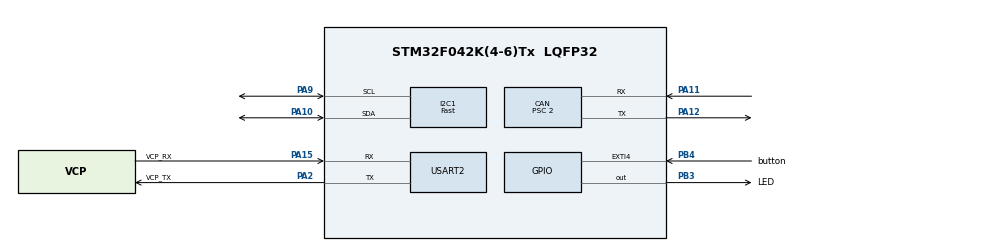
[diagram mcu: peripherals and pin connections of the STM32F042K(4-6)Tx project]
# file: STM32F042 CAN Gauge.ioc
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CAN.BS1=CAN_BS1_3TQ
CAN.BS2=CAN_BS2_4TQ
CAN.CalculateBaudRate=500000
CAN.CalculateTimeBit=2000.00
CAN.CalculateTimeQuantum=250.0
CAN.Prescaler=2
I2C1.I2C_Speed_Mode=I2C_Fast
I2C1.Timing=0x0000020B
Mcu.Family=STM32F0
Mcu.Name=STM32F042K(4-6)Tx
Mcu.Package=LQFP32
NVIC.CEC_CAN_IRQn=true\:0\:0\:false\:false\:true\:true\:true
NVIC.EXTI4_15_IRQn=true\:0\:0\:false\:false\:true\:true\:true
PA10.Mode=I2C
PA10.Signal=I2C1_SDA
PA11.Mode=CAN_Activate
PA11.Signal=CAN_RX
PA12.Mode=CAN_Activate
PA12.Signal=CAN_TX
PA13.GPIO_Label=SWDIO
PA13.Mode=Serial_Wire
PA13.Signal=SYS_SWDIO
PA14.GPIO_Label=SWCLK
PA14.Mode=Serial_Wire
PA14.Signal=SYS_SWCLK
PA15.GPIO_Label=VCP_RX
PA15.Mode=Asynchronous
PA15.Signal=USART2_RX
PA2.GPIO_Label=VCP_TX
PA2.Mode=Asynchronous
PA2.Signal=USART2_TX
PA9.Mode=I2C
PA9.Signal=I2C1_SCL
PB3.GPIO_Label=LED
PB3.Signal=GPIO_Output
PB4.GPIO_Label=button
PB4.GPIO_ModeDefaultEXTI=GPIO_MODE_IT_FALLING
PB4.GPIO_PuPd=GPIO_PULLUP
PB4.Signal=GPXTI4
PF0-OSC_IN.GPIO_Label=MCO
PF0-OSC_IN.Mode=HSE-External-Clock-Source
PF0-OSC_IN.Signal=RCC_OSC_IN
ProjectManager.HeapSize=0x200
ProjectManager.StackSize=0x400
ProjectManager.TargetToolchain=STM32CubeIDE
USART2.VirtualMode-Asynchronous=VM_ASYNC
board=NUCLEO-F042K6

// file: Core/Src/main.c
/* USER CODE BEGIN Header */
/**
  ******************************************************************************
  * @file           : main.c
  * @brief          : Main program body
  ******************************************************************************
  * @attention
  *
  * <h2><center>&copy; Copyright (c) 2021 STMicroelectronics.
  * All rights reserved.</center></h2>
  *
  * This software component is licensed by ST under BSD 3-Clause license,
  * the "License"; You may not use this file except in compliance with the
  * License. You may obtain a copy of the License at:
  *                        opensource.org/licenses/BSD-3-Clause
  *
  ******************************************************************************
  */
/* USER CODE END Header */
#include "main.h"

/* USER CODE BEGIN Includes */
#include "ssd1306.h"
#include <stdbool.h>
#include <stdio.h>
/* USER CODE END Includes */

CAN_HandleTypeDef hcan;

I2C_HandleTypeDef hi2c1;

UART_HandleTypeDef huart2;

/* USER CODE BEGIN PV */

CAN_RxHeaderTypeDef rxHeader; 			//CAN Bus receive header
uint8_t canRX[8] = {0,0,0,0,0,0,0,0};  	//CAN Bus Receive Buffer
CAN_FilterTypeDef canfilter; 			//CAN Bus Filter

// Format for data
// intVal    - 	Integer Value
// decVal    - 	Decimal Value
// scale     -  Inverse of scale, Ex : 0.002 = 200
// decScale  - 	Use to select decimal places, Ex : 10 will remove last digit, 100 -> up to 2 places
// max		 -	Maximum value for graph
// min		 - 	value for graph
// val		 -  Received value
// id		 - 	Corresponds to base + address for filter ID

struct rxData{
	int intVal, decVal, scale, decScale, max, min, val, id;
	int intMax, intMin, decMax, decMin, valMin, valMax;

};

struct minMaxData{
	int  intMax, intMin, decMax, decMin, valMin, valMax;

};

//[int] [dec] [scale] [dec scale] [max] [min] [val] [ID]

struct rxData afr = {0,0,1000,100,22,8,0,4};
struct rxData rpm = {0,0,1,1,7000,50,0,1};
struct rxData clt = {0,0,1,1,60,250,0};
struct rxData iat = {0,0,1,1,60,250,0};
struct rxData accel = {0,0,100,1,0,100,0};
struct rxData tps1 = {0,0,100,1,0,100,0};
struct rxData tps2 = {0,0,100,1,0,100,0};
struct rxData map = {0,0,300,100,0,100,0};
struct rxData timing = {0,0,200,100,0,50,0};
struct rxData injDuty = {0,0,200,1,0,100,0};
struct rxData battery = {0,0,1000,100,0,16,0};

struct minMaxData storedMinMax = {0 , 0, 0, 0, 0, 0};

// User button
int currentMs = 0;
int lastMs = 0;
int btnDebounce = 250;
int btnPress = 0;

int debug = 0;
int fastUpdateRate = 1;

// Gauges, adjust current for starting
int currentGauge = 1;
int totalNumGauge = 4;

//Test data
int b[] = {0,0,0,0,0,0,0};

// CAN IDs for Filters
const int filterID[] = {(512), (513), (514), (515), (516), (517)};
int currentFilter = 0;
int cycleFilter =0;

int rxID;
int msgRXstatus = 0;
char buff[16];

int pMin = 0xFFFF;
int pMax = 0;
int p;
int vMax;
int vMin;
int lastTimeMax;
int lastTimeMin;
int lastTimeMaxP;
int lastTimeMinP;
int timerMinMax = 3500;

int lastCanMessage = 0;
int canWaitTime = 2000;

/* USER CODE END PV */

void SystemClock_Config(void);
static void MX_GPIO_Init(void);
static void MX_USART2_UART_Init(void);
static void MX_I2C1_Init(void);
static void MX_CAN_Init(void);

/* USER CODE BEGIN 0 */

void HAL_CAN_RxFifo0MsgPendingCallback(CAN_HandleTypeDef *hcan1){
	// Receive CAN message interrupt
	HAL_CAN_GetRxMessage(hcan1, CAN_RX_FIFO0, &rxHeader, canRX);
	HAL_GPIO_TogglePin(GPIOB, GPIO_PIN_3);
	msgRXstatus = 1;
	rxID = rxHeader.StdId;
}

void EXTI4_15_IRQHandler(){
	// Push button interrupt
	currentMs = HAL_GetTick();
	 if ((currentMs - lastMs > btnDebounce))
	  {
	    lastMs = currentMs;
	    btnPress=1;
	  }
	 HAL_GPIO_EXTI_IRQHandler(GPIO_PIN_4);
}

void canFilterInit(int hiID, int loID){
  	canfilter.FilterBank = 0;
  	canfilter.FilterMode = CAN_FILTERMODE_IDLIST;
  	canfilter.FilterFIFOAssignment = CAN_RX_FIFO0;
  	canfilter.FilterIdHigh = hiID<<5;
  	canfilter.FilterIdLow = loID<<5;
  	canfilter.FilterMaskIdHigh = 0;
  	canfilter.FilterMaskIdLow = 0;
  	canfilter.FilterScale = CAN_FILTERSCALE_32BIT;
  	canfilter.FilterActivation = ENABLE;
  	canfilter.SlaveStartFilterBank = 1;
  	HAL_CAN_ConfigFilter(&hcan,&canfilter);
}

void canFilterUpdate(int hiID, int loID) {
  	canfilter.FilterIdHigh = hiID<<5;
  	canfilter.FilterIdLow = loID<<5;
  	HAL_CAN_ConfigFilter(&hcan,&canfilter);
}

int byte2Data(int b1, int b2){
	// combine two bytes into a single value
	uint32_t sensorVal = (canRX[b1] << 8)|(canRX[b2]);
	return sensorVal;
}

int getIntValue(struct rxData* data){
	 // Get the integer value
	 // Multiply by the inverse of the scale
	 data->intVal = data->val / data->scale;
	 return data->intVal;
}

int getDecValue(struct rxData* data){

	 // Get the decimal value
	 // Subtract the int value from the total
	 // Multiply by the inverse of the scale
	 // Scale and multiply to get number of desired decimal places
	 data->decVal = ((data->val  - (data->intVal*data->scale)) * (data->decScale)/(data->scale));
	 return data->decVal;
}

void getData(){

	switch(rxID){

	case (511):
		// Get test data
		 b[0] = canRX[0];
		 b[1] = canRX[1];
		 b[2] = canRX[2];
		 b[3] = canRX[3];
		 b[4] = canRX[4];
		 b[5] = canRX[5];
		 b[6] = canRX[6];
		 b[7] = canRX[7];

	case 512 :
		break;

	case 513 :
		rpm.val = byte2Data(1,0);		//RPM
		timing.val = byte2Data(3,2);	//Timing deg
		injDuty.val = byte2Data(4,5);	//Injector Duty %
		break;

	case 514 :
		tps1.val = byte2Data(3,2);		//TPS1 %
		break;

	case 515 :
		map.val = byte2Data(1,0);		//MAP kPa
		clt.val = canRX[2];				//Coolant Temp C
		iat.val = canRX[3];				//Intake Temp C
		break;

	case 516 :
		afr.val = byte2Data(1,0);		//AFR
		battery.val = byte2Data(7,6);	//Battery V
		break;

	case 517 :
		break;

	}
}

void printText( char* text, int X, int Y, int textSize){
	// Set cursor and print 11x18 text
	ssd1306_SetCursor(X, Y);
	switch (textSize){

	case 2:
	ssd1306_WriteString(text, Font_11x18, White);
	break;

	case 3:
	ssd1306_WriteString(text, Font_16x26, White);
	break;

	default:
	ssd1306_WriteString(text, Font_7x10, White);
	break;
	}

}

void printDataDigital(struct rxData * data, int X, int Y, int textSize){
	// Set cursor x/y location and print the selected data
	// If decimal value is 0 it will not be printed
	// This will print the maximum stored value
	ssd1306_SetCursor(X, Y);
	if (data->decVal > 0){
		snprintf(buff, sizeof(buff), "%d.%d", data->intVal,data->decVal);
		switch (textSize){

			case 2:
			ssd1306_WriteString(buff, Font_11x18, White);
			break;

			case 3:
			ssd1306_WriteString(buff, Font_16x26, White);
			break;

			default:
			ssd1306_WriteString(buff, Font_7x10, White);
			break;
			}

	}

	else {
		snprintf(buff, sizeof(buff), "%d", data->intVal);
		switch (textSize){

			case 2:
			ssd1306_WriteString(buff, Font_11x18, White);
			break;

			case 3:
			ssd1306_WriteString(buff, Font_16x26, White);
			break;

			default:
			ssd1306_WriteString(buff, Font_7x10, White);
			break;
			}
	}

}

void printDataMin(struct rxData * data, int X, int Y, int textSize){
	// Set cursor x/y location and print the selected data
	// If decimal value is 0 it will not be printed
	// This will print the minimum stored value
	ssd1306_SetCursor(X, Y);
	if (data->decMin > 0){
		snprintf(buff, sizeof(buff), "%d.%d", data->intMin,data->decMin);

		switch (textSize){

					case 2:
					ssd1306_WriteString(buff, Font_11x18, White);
					break;

					case 3:
					ssd1306_WriteString(buff, Font_16x26, White);
					break;

					default:
					ssd1306_WriteString(buff, Font_7x10, White);
					break;
					}
	}

	else {
		snprintf(buff, sizeof(buff), "%d", data->intMin);
		switch (textSize){

					case 2:
					ssd1306_WriteString(buff, Font_11x18, White);
					break;

					case 3:
					ssd1306_WriteString(buff, Font_16x26, White);
					break;

					default:
					ssd1306_WriteString(buff, Font_7x10, White);
					break;
					}
	}

}

void printDataMax(struct rxData * data, int X, int Y, int textSize){
	// Set cursor x/y location and print the selected data
	// If decimal value is 0 it will not be printed
	// This will print the maximum stored value
	ssd1306_SetCursor(X, Y);
	if (data->decMax > 0){
		snprintf(buff, sizeof(buff), "%d.%d", data->intMax,data->decMax);
		switch (textSize){

					case 2:
					ssd1306_WriteString(buff, Font_11x18, White);
					break;

					case 3:
					ssd1306_WriteString(buff, Font_16x26, White);
					break;

					default:
					ssd1306_WriteString(buff, Font_7x10, White);
					break;
					}
	}

	else {
		snprintf(buff, sizeof(buff), "%d", data->intMax);
		switch (textSize){

					case 2:
					ssd1306_WriteString(buff, Font_11x18, White);
					break;

					case 3:
					ssd1306_WriteString(buff, Font_16x26, White);
					break;

					default:
					ssd1306_WriteString(buff, Font_7x10, White);
					break;
					}
	}

}

void printBarGraph(int X, int Y, int height, int width, int progress, int boarder){

	// Draw bar graph
	// setup location, provide a progress percent 0 -> 100, and a boarder spacing for the fill

	ssd1306_SetCursor(X,Y);

	//Draw boarder
	// Top
	for (int x = X; x<(X + width); x++){
		int y = Y;
		ssd1306_DrawPixel(x,y,White);
	}
	// Bottom
	for (int x =X; x<(X + width); x++){
		int y = Y + height;
		ssd1306_DrawPixel(x,y,White);
	}
	// Left
	for (int y = Y; y< (Y + height); y++){
		int x = X;
		ssd1306_DrawPixel(x,y,White);
	}
	// Right
	for (int y = Y; y<(Y + height); y++){
		int x = X + width;
		ssd1306_DrawPixel(x,y,White);
	}

	// Draw Fill
	for (int y = (Y+boarder); y<((Y + height)-boarder); y++){
		for (int x = (X+boarder) ; x< (((X + width)-boarder)*progress/100); x++){
			ssd1306_DrawPixel(x,y,White);
		}
	}
}

void printBarMinMax(int X, int Y, int height, int width, int min, int max){

	// Setup x location to draw max marker then draw a vertical line
	// width should be the same as the bar graph, but height can vary to extend beyond the bar graph boarder
	int x = (X+width)*max/100;
	for (int y = (Y- height); y< (Y + height); y++){
		ssd1306_DrawPixel(x,y,White);
	}

	// Setup x location to draw min marker then draw a vertical line
	x = (X+width)*min/100;
	for  (int y = (Y-height); y< (Y + height); y++){
			ssd1306_DrawPixel(x,y,White);
		}
}

int getPercent(struct rxData *data){
	// This returns a percentage of the current value vs the set limits for the data

	// Offset current and max values by min, then divide by the max to get the percentage
	int p = ((data->val-(data->min*data->scale))*100);
	p = p / ((data->max - data->min)*data->scale);

	// Limit percentage to 0 -> 100
	if (p > 100){
		p = 100;
	}
	if (p < 0){
		p = 0;
	}

	return p;
}

void getMinMax(struct rxData *data){
	// This stores the current minimum value and updates if necessary

	// Using the set time interval, set the current min/max so that the current value is the new min/max
	int currentTime = HAL_GetTick();
	 if (((currentTime - lastTimeMin) > timerMinMax)){
		lastTimeMin = currentTime;
		data->valMin = 0xFFFF;
		data->valMax = 0;
	}

	 // Update min/max if current value is exceeded
	if (data->val < data->valMin){
		data->valMin = data->val;
		data->intMin = data->val / data->scale;
		data->decMin = ((data->val  - (data->intVal*data->scale)) * (data->decScale)/(data->scale));
	}

	// Update min/max if current value is exceeded
	if (data->val > data->valMax){
		data->valMax = data->val;
		data->intMax = data->val / data->scale;
		data->decMax = ((data->val  - (data->intVal*data->scale)) * (data->decScale)/(data->scale));
	}
}

void printStartup(){

	ssd1306_Fill(Black);
	printText("CAN 500k",5,05,1);
	printText("Base ID 512 ",5,25,1);
	printText("Waiting ...",5,45,1);
	ssd1306_UpdateScreen();

}

void getPercentMinMax(int p, int *min, int *max){
	// This stores the current minimum percent value and updates if necessary

	// Using the set time interval, set the current min/max so that the current value is the new min/max
	int currentTime = HAL_GetTick();
	if (((currentTime - lastTimeMinP) > timerMinMax)){
		 lastTimeMinP = currentTime;
		 *min = 999;
		 *max = 0;
	}
	// Update min/max if current value is exceeded
	if (p < *min){
		*min = p;
	}
	if (p > *max){
		*max = p;
		}

}

void digitalGaugeBasic(struct rxData* data, char text[12])
{

	getIntValue(data);
	getDecValue(data);
	printText(text,5,2,2);
	printDataDigital(data,5,30,2);
	ssd1306_UpdateScreen();

}

void digitalGaugeBasicRotated(struct rxData* data, char text[12])
{

	getIntValue(data);
	getDecValue(data);
	printText(text,5,5,1);
	printDataDigital(data,0,30,3);
	ssd1306_UpdateScreen();

}

void digitalGaugeBar(struct rxData* data, char text[12])
{
	getIntValue(data);
	getDecValue(data);
	getMinMax(data);

	p = getPercent(data);
	getPercentMinMax(p,&pMin,&pMax);
	printBarGraph(5,0,10,120,p,2);
	printBarMinMax(5,0,20,120,pMin,pMax);

	printText(text,2,45,0);
	printDataMin(data,2,25,1);
	printDataMax(data,2,35,1);

	printDataDigital(&afr,40,30,2);
	ssd1306_UpdateScreen();
}

void digitalGaugeBarRotated(struct rxData* data, char text[12])
{
	getIntValue(data);
	getDecValue(data);
	getMinMax(data);
	p = getPercent(data);

	getPercentMinMax(p,&pMin,&pMax);
	printBarGraph(5,2,10,50,p,1);
	printBarMinMax(5,2,20,50,pMin,pMax);

	printText(text,2,25,0);
	printText("Current",2,35,0);
	printText("Min/Max",2,65,0);
	printDataMin(data,2,100,2);
	printDataMax(data,2,80,2);

	printDataDigital(data,0,45,2);
	ssd1306_UpdateScreen();
}

void updateGauge(int gaugePrint){

	//Setup CAN filter with address for desired data
	//Print specified data to the display

	ssd1306_Fill(Black);
	switch (gaugePrint){

	case 0 : // Basic AFR
		currentFilter = afr.id;
		digitalGaugeBasicRotated(&afr,"AFR");
		break;

	case 1 : // AFR with bar graph and min/max
		currentFilter = afr.id;
		digitalGaugeBarRotated(&afr,"AFR");
		break;

	case 2 : // Basic RPM
		currentFilter = rpm.id;
		digitalGaugeBasicRotated(&rpm,"RPM");
		break;

	case 3 : // RPM Bar
		currentFilter = rpm.id;
		digitalGaugeBarRotated(&rpm,"RPM");
		break;

	default : // If no gauge is available print something
		ssd1306_SetCursor(5, 30);
		ssd1306_WriteString("No Data", Font_11x18, White);
		ssd1306_SetCursor(5, 0);
		snprintf(buff, sizeof(buff), "%d", currentGauge);
		ssd1306_WriteString(buff, Font_11x18, White);
		ssd1306_UpdateScreen();
		break;

	}
}

/* USER CODE END 0 */

int main(void)
{

  /* MCU Configuration--------------------------------------------------------*/

  /* Reset of all peripherals, Initializes the Flash interface and the Systick. */
   HAL_Init();

  /* Configure the system clock */
  SystemClock_Config();

  /* Initialize all configured peripherals */
  MX_GPIO_Init();
  MX_USART2_UART_Init();
  MX_I2C1_Init();
  MX_CAN_Init();
  /* USER CODE BEGIN 2 */

	// Setup CAN

	HAL_CAN_Start(&hcan);
	HAL_CAN_ActivateNotification(&hcan,CAN_IT_RX_FIFO0_MSG_PENDING);
	canFilterInit(516, 512);
	// Initialize Display and clear
	ssd1306_Init();
	printStartup();

  /* USER CODE END 2 */

  /* Infinite loop */
  while (1)
  {

    /* USER CODE BEGIN 3 */

	// Print current gauge to display

	 if (lastCanMessage > 0 && ((HAL_GetTick() - lastCanMessage) > canWaitTime)){
		 	ssd1306_Fill(Black);
		 	printText("Lost CAN",5,5,2);
		 	printText("Connection",5,20,2);
		 	printText("!!!!!!!",20,40,2);
		 	ssd1306_UpdateScreen();
	 }

	// Get data from received CAN message
	 if (msgRXstatus == 1){
		 getData();
		 msgRXstatus = 0;
		 updateGauge(currentGauge);
		 lastCanMessage = HAL_GetTick();

		 if (fastUpdateRate == 0){
			 cycleFilter++;
			 cycleFilter++;
			 if (cycleFilter > 5){
				 cycleFilter = 0;
			 	 }
					 canFilterUpdate(filterID[cycleFilter+1], filterID[cycleFilter]);
			}
	 }

	 // Cycle gauges if the button was pressed
	 if (btnPress == 1){

		 btnPress = 0;
		 // Reset min/max on gauge change
		 lastTimeMax=0;
		 lastTimeMin=0;
		 lastTimeMaxP=0;
		 lastTimeMinP=0;

		 currentGauge++;
		 if (currentGauge > totalNumGauge){
			 currentGauge = 0;
		 }

		 updateGauge(currentGauge);

		 if (fastUpdateRate == 1){
			 canFilterUpdate(filterID[currentFilter], filterID[currentFilter]);
		 }

	 }

	 if (debug == 1){
		 getData();
		 msgRXstatus = 0;
		 updateGauge(currentGauge);
		 lastCanMessage = HAL_GetTick();
	 }

  }}
  /* USER CODE END 3 */

void SystemClock_Config(void)
{
  RCC_OscInitTypeDef RCC_OscInitStruct = {0};
  RCC_ClkInitTypeDef RCC_ClkInitStruct = {0};
  RCC_PeriphCLKInitTypeDef PeriphClkInit = {0};

  /** Initializes the RCC Oscillators according to the specified parameters
  * in the RCC_OscInitTypeDef structure.
  */
  RCC_OscInitStruct.OscillatorType = RCC_OSCILLATORTYPE_HSI;
  RCC_OscInitStruct.HSIState = RCC_HSI_ON;
  RCC_OscInitStruct.HSICalibrationValue = RCC_HSICALIBRATION_DEFAULT;
  RCC_OscInitStruct.PLL.PLLState = RCC_PLL_NONE;
  if (HAL_RCC_OscConfig(&RCC_OscInitStruct) != HAL_OK)
  {
    Error_Handler();
  }
  /** Initializes the CPU, AHB and APB buses clocks
  */
  RCC_ClkInitStruct.ClockType = RCC_CLOCKTYPE_HCLK|RCC_CLOCKTYPE_SYSCLK
                              |RCC_CLOCKTYPE_PCLK1;
  RCC_ClkInitStruct.SYSCLKSource = RCC_SYSCLKSOURCE_HSI;
  RCC_ClkInitStruct.AHBCLKDivider = RCC_SYSCLK_DIV1;
  RCC_ClkInitStruct.APB1CLKDivider = RCC_HCLK_DIV1;

  if (HAL_RCC_ClockConfig(&RCC_ClkInitStruct, FLASH_LATENCY_0) != HAL_OK)
  {
    Error_Handler();
  }
  PeriphClkInit.PeriphClockSelection = RCC_PERIPHCLK_I2C1;
  PeriphClkInit.I2c1ClockSelection = RCC_I2C1CLKSOURCE_HSI;
  if (HAL_RCCEx_PeriphCLKConfig(&PeriphClkInit) != HAL_OK)
  {
    Error_Handler();
  }
}

static void MX_CAN_Init(void)
{

  hcan.Instance = CAN;
  hcan.Init.Prescaler = 2;
  hcan.Init.Mode = CAN_MODE_NORMAL;
  hcan.Init.SyncJumpWidth = CAN_SJW_1TQ;
  hcan.Init.TimeSeg1 = CAN_BS1_3TQ;
  hcan.Init.TimeSeg2 = CAN_BS2_4TQ;
  hcan.Init.TimeTriggeredMode = DISABLE;
  hcan.Init.AutoBusOff = DISABLE;
  hcan.Init.AutoWakeUp = DISABLE;
  hcan.Init.AutoRetransmission = DISABLE;
  hcan.Init.ReceiveFifoLocked = DISABLE;
  hcan.Init.TransmitFifoPriority = DISABLE;
  if (HAL_CAN_Init(&hcan) != HAL_OK)
  {
    Error_Handler();
  }

}

static void MX_I2C1_Init(void)
{

  hi2c1.Instance = I2C1;
  hi2c1.Init.Timing = 0x0000020B;
  hi2c1.Init.OwnAddress1 = 0;
  hi2c1.Init.AddressingMode = I2C_ADDRESSINGMODE_7BIT;
  hi2c1.Init.DualAddressMode = I2C_DUALADDRESS_DISABLE;
  hi2c1.Init.OwnAddress2 = 0;
  hi2c1.Init.OwnAddress2Masks = I2C_OA2_NOMASK;
  hi2c1.Init.GeneralCallMode = I2C_GENERALCALL_DISABLE;
  hi2c1.Init.NoStretchMode = I2C_NOSTRETCH_DISABLE;
  if (HAL_I2C_Init(&hi2c1) != HAL_OK)
  {
    Error_Handler();
  }
  /** Configure Analogue filter
  */
  if (HAL_I2CEx_ConfigAnalogFilter(&hi2c1, I2C_ANALOGFILTER_ENABLE) != HAL_OK)
  {
    Error_Handler();
  }
  /** Configure Digital filter
  */
  if (HAL_I2CEx_ConfigDigitalFilter(&hi2c1, 0) != HAL_OK)
  {
    Error_Handler();
  }

}

static void MX_USART2_UART_Init(void)
{

  huart2.Instance = USART2;
  huart2.Init.BaudRate = 38400;
  huart2.Init.WordLength = UART_WORDLENGTH_8B;
  huart2.Init.StopBits = UART_STOPBITS_1;
  huart2.Init.Parity = UART_PARITY_NONE;
  huart2.Init.Mode = UART_MODE_TX_RX;
  huart2.Init.HwFlowCtl = UART_HWCONTROL_NONE;
  huart2.Init.OverSampling = UART_OVERSAMPLING_16;
  huart2.Init.OneBitSampling = UART_ONE_BIT_SAMPLE_DISABLE;
  huart2.AdvancedInit.AdvFeatureInit = UART_ADVFEATURE_NO_INIT;
  if (HAL_UART_Init(&huart2) != HAL_OK)
  {
    Error_Handler();
  }

}

static void MX_GPIO_Init(void)
{
  GPIO_InitTypeDef GPIO_InitStruct = {0};

  /* GPIO Ports Clock Enable */
  __HAL_RCC_GPIOF_CLK_ENABLE();
  __HAL_RCC_GPIOA_CLK_ENABLE();
  __HAL_RCC_GPIOB_CLK_ENABLE();

  /*Configure GPIO pin Output Level */
  HAL_GPIO_WritePin(LED_GPIO_Port, LED_Pin, GPIO_PIN_RESET);

  /*Configure GPIO pin : LED_Pin */
  GPIO_InitStruct.Pin = LED_Pin;
  GPIO_InitStruct.Mode = GPIO_MODE_OUTPUT_PP;
  GPIO_InitStruct.Pull = GPIO_NOPULL;
  GPIO_InitStruct.Speed = GPIO_SPEED_FREQ_LOW;
  HAL_GPIO_Init(LED_GPIO_Port, &GPIO_InitStruct);

  /*Configure GPIO pin : button_Pin */
  GPIO_InitStruct.Pin = button_Pin;
  GPIO_InitStruct.Mode = GPIO_MODE_IT_FALLING;
  GPIO_InitStruct.Pull = GPIO_PULLUP;
  HAL_GPIO_Init(button_GPIO_Port, &GPIO_InitStruct);

  /* EXTI interrupt init*/
  HAL_NVIC_SetPriority(EXTI4_15_IRQn, 0, 0);
  HAL_NVIC_EnableIRQ(EXTI4_15_IRQn);

}

void Error_Handler(void)
{
  __disable_irq();
  while (1)
  {
  }
}

/************************ (C) COPYRIGHT STMicroelectronics *****END OF FILE****/
